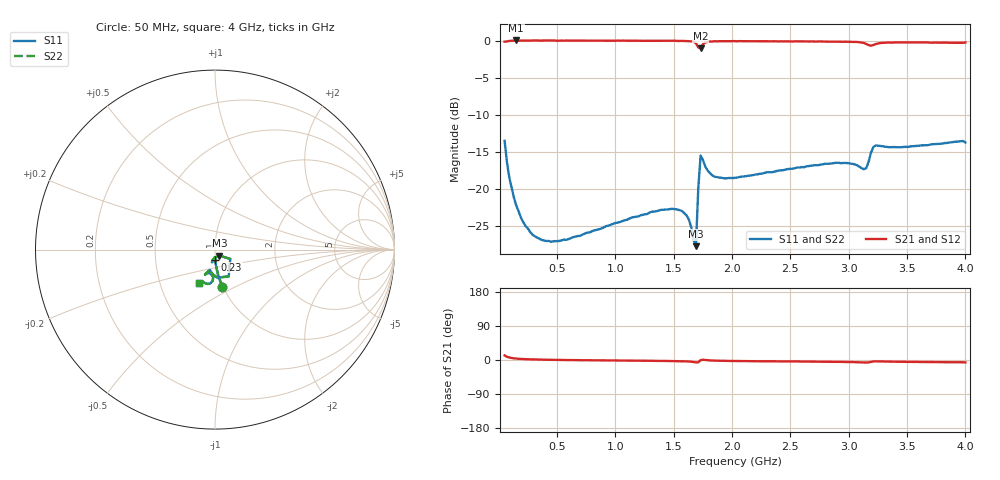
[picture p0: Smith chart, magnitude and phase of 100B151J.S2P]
!  American Technical Ceramics  Date:  3/13/98
!  One Norden Lane
!  Huntington Station,  NY.  11746-2102
!  Tel:  (516) 547-5700  Fax:  (516) 547-5748
!  Part Number  100b151j
!  Description: Porcelain, High Q, Low ESR
!  Application: Bypass, Coupling, Timing, Feedback
!  Tuning, Impedance Match, Blocking
# GHZ S DB R 50
! Freq  |S11|  S11 Ph  |S21|  S21 Ph  |S12|  S12 Ph  |S22|  S22 Ph
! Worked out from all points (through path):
!   201 points, 50 MHz to 4 GHz, reference 50 ohm
!   highest |S21| = 0.02 dB at 150 MHz (marker M1); lowest = -1.0 dB at 1.73 GHz (marker M2)
!   group delay of S21, straight-line fit = 5.81 ps
!   lowest |S11| = -27.7 dB at 1.69 GHz (marker M3), VSWR 1.09, Z = 52.4 - j3.47 ohm
!   |S11| at or under -10 dB: start of sweep to end of sweep
!   |S22| runs from -27.7 to -13.5 dB; largest |S21 - S12| = 0
!   S11 on the Smith chart (normalised r, x): 50 MHz: 0.99, -0.43; 230 MHz: 1.00, -0.11; 4 GHz: 0.78, -0.30
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0.05  -13.51 -78.6  -0.14 12.1  -0.14 12.1  -13.51 -78.6
0.09  -18.46 -84.2  -0.04 6.6  -0.04 6.6  -18.46 -84.2
0.15  -22.25 -87.1  0.02 3.9  0.02 3.9  -22.25 -87.1
0.23  -25.01 -88.8  0.01 2.3  0.01 2.3  -25.01 -88.8
0.31  -26.40 -90.1  0.02 1.5  0.02 1.5  -26.40 -90.1
0.45  -27.15 -92.4  0.01 0.6  0.01 0.6  -27.15 -92.4
0.72  -26.15 -95.2  0.00 -0.6  0.00 -0.6  -26.15 -95.2
1.37  -22.93 -102.0  -0.02 -2.4  -0.02 -2.4  -22.93 -102.0
1.59  -23.26 -103.6  -0.05 -3.5  -0.05 -3.5  -23.26 -103.6
1.63  -24.16 -102.8  -0.08 -4.0  -0.08 -4.0  -24.16 -102.8
1.69  -27.73 -53.6  -0.34 -6.4  -0.34 -6.4  -27.73 -53.6
1.71  -20.00 -31.5  -0.93 -6.1  -0.93 -6.1  -20.00 -31.5
1.73  -15.51 -62.9  -1.04 -0.4  -1.04 -0.4  -15.51 -62.9
1.77  -16.98 -93.4  -0.26 -0.0  -0.26 -0.0  -16.98 -93.4
1.83  -18.18 -100.9  -0.13 -1.4  -0.13 -1.4  -18.18 -100.9
2.03  -18.50 -105.5  -0.09 -2.6  -0.09 -2.6  -18.50 -105.5
2.7  -16.82 -110.4  -0.12 -4.3  -0.12 -4.3  -16.82 -110.4
2.99  -16.52 -111.8  -0.16 -5.4  -0.16 -5.4  -16.52 -111.8
3.13  -17.35 -104.4  -0.32 -6.7  -0.32 -6.7  -17.35 -104.4
3.21  -14.38 -98.1  -0.60 -3.9  -0.60 -3.9  -14.38 -98.1
3.35  -14.38 -110.5  -0.27 -4.3  -0.27 -4.3  -14.38 -110.5
4  -13.74 -116.3  -0.25 -6.2  -0.25 -6.2  -13.74 -116.3
